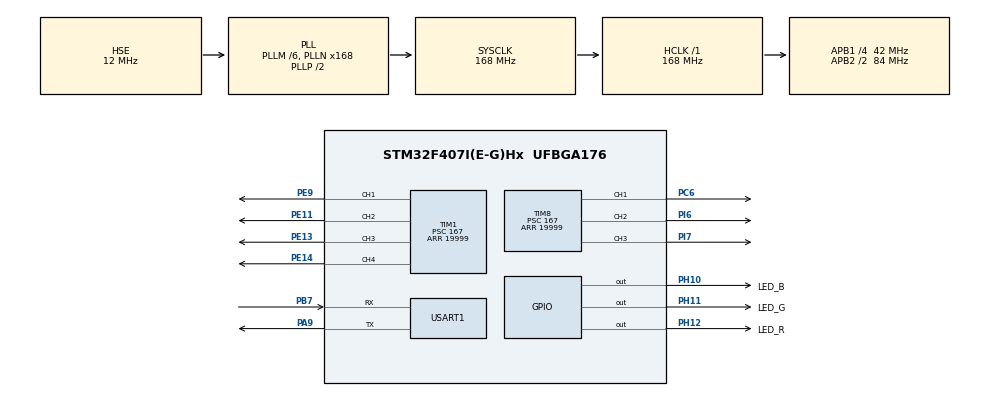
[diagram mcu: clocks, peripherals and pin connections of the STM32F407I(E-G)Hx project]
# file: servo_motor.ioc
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Dma.Request0=USART1_TX
Dma.USART1_TX.0.Direction=DMA_MEMORY_TO_PERIPH
Dma.USART1_TX.0.FIFOMode=DMA_FIFOMODE_DISABLE
Dma.USART1_TX.0.Instance=DMA2_Stream7
Dma.USART1_TX.0.MemDataAlignment=DMA_MDATAALIGN_BYTE
Dma.USART1_TX.0.MemInc=DMA_MINC_ENABLE
Dma.USART1_TX.0.Mode=DMA_NORMAL
Dma.USART1_TX.0.PeriphDataAlignment=DMA_PDATAALIGN_BYTE
Dma.USART1_TX.0.PeriphInc=DMA_PINC_DISABLE
Dma.USART1_TX.0.Priority=DMA_PRIORITY_VERY_HIGH
Mcu.Family=STM32F4
Mcu.Name=STM32F407I(E-G)Hx
Mcu.Package=UFBGA176
NVIC.DMA2_Stream7_IRQn=true\:0\:0\:false\:false\:true\:false\:true
NVIC.PriorityGroup=NVIC_PRIORITYGROUP_4
PA13.Mode=Serial_Wire
PA13.Signal=SYS_JTMS-SWDIO
PA14.Mode=Serial_Wire
PA14.Signal=SYS_JTCK-SWCLK
PA9.Mode=Asynchronous
PA9.Signal=USART1_TX
PB7.Mode=Asynchronous
PB7.Signal=USART1_RX
PC6.GPIO_PuPd=GPIO_PULLUP
PC6.GPIO_Speed=GPIO_SPEED_FREQ_HIGH
PC6.Signal=S_TIM8_CH1
PE11.GPIO_PuPd=GPIO_PULLUP
PE11.GPIO_Speed=GPIO_SPEED_FREQ_HIGH
PE11.Signal=S_TIM1_CH2
PE13.GPIO_PuPd=GPIO_PULLUP
PE13.GPIO_Speed=GPIO_SPEED_FREQ_HIGH
PE13.Signal=S_TIM1_CH3
PE14.GPIO_PuPd=GPIO_PULLUP
PE14.GPIO_Speed=GPIO_SPEED_FREQ_HIGH
PE14.Signal=S_TIM1_CH4
PE9.GPIO_PuPd=GPIO_PULLUP
PE9.GPIO_Speed=GPIO_SPEED_FREQ_HIGH
PE9.Signal=S_TIM1_CH1
PH0-OSC_IN.Mode=HSE-External-Oscillator
PH0-OSC_IN.Signal=RCC_OSC_IN
PH1-OSC_OUT.Mode=HSE-External-Oscillator
PH1-OSC_OUT.Signal=RCC_OSC_OUT
PH10.GPIO_Label=LED_B
PH10.PinState=GPIO_PIN_SET
PH10.Signal=GPIO_Output
PH11.GPIO_Label=LED_G
PH11.Signal=GPIO_Output
PH12.GPIO_Label=LED_R
PH12.Signal=GPIO_Output
PI6.GPIO_PuPd=GPIO_PULLUP
PI6.GPIO_Speed=GPIO_SPEED_FREQ_HIGH
PI6.Signal=S_TIM8_CH2
PI7.GPIO_PuPd=GPIO_PULLUP
PI7.GPIO_Speed=GPIO_SPEED_FREQ_HIGH
PI7.Signal=S_TIM8_CH3
ProjectManager.HeapSize=0x2000
ProjectManager.StackSize=0x2000
ProjectManager.TargetToolchain=MDK-ARM V5
RCC.48MHZClocksFreq_Value=48000000
RCC.AHBFreq_Value=168000000
RCC.APB1CLKDivider=RCC_HCLK_DIV4
RCC.APB1Freq_Value=42000000
RCC.APB1TimFreq_Value=84000000
RCC.APB2CLKDivider=RCC_HCLK_DIV2
RCC.APB2Freq_Value=84000000
RCC.APB2TimFreq_Value=168000000
RCC.CortexFreq_Value=168000000
RCC.HCLKFreq_Value=168000000
RCC.HSE_VALUE=12000000
RCC.HSI_VALUE=16000000
RCC.LSE_VALUE=32768
RCC.PLLM=6
RCC.PLLN=168
RCC.PLLQ=7
RCC.PLLSourceVirtual=RCC_PLLSOURCE_HSE
RCC.RCC_RTC_Clock_SourceVirtual=RCC_RTCCLKSOURCE_HSE_DIV30
RCC.RCC_RTC_Clock_Source_FROM_HSE=RCC_RTCCLKSOURCE_HSE_DIV30
RCC.SYSCLKFreq_VALUE=168000000
RCC.SYSCLKSource=RCC_SYSCLKSOURCE_PLLCLK
RCC.VCOOutputFreq_Value=336000000
SH.S_TIM1_CH1.0=TIM1_CH1,PWM Generation1 CH1
SH.S_TIM1_CH2.0=TIM1_CH2,PWM Generation2 CH2
SH.S_TIM1_CH3.0=TIM1_CH3,PWM Generation3 CH3
SH.S_TIM1_CH4.0=TIM1_CH4,PWM Generation4 CH4
SH.S_TIM8_CH1.0=TIM8_CH1,PWM Generation1 CH1
SH.S_TIM8_CH2.0=TIM8_CH2,PWM Generation2 CH2
SH.S_TIM8_CH3.0=TIM8_CH3,PWM Generation3 CH3
TIM1.Channel-PWM\ Generation1\ CH1=TIM_CHANNEL_1
TIM1.Channel-PWM\ Generation2\ CH2=TIM_CHANNEL_2
TIM1.Channel-PWM\ Generation3\ CH3=TIM_CHANNEL_3
TIM1.Channel-PWM\ Generation4\ CH4=TIM_CHANNEL_4
TIM1.Period=19999
TIM1.Prescaler=167
TIM1.Pulse-PWM\ Generation1\ CH1=2000
TIM1.Pulse-PWM\ Generation2\ CH2=2000
TIM1.Pulse-PWM\ Generation3\ CH3=2000
TIM1.Pulse-PWM\ Generation4\ CH4=2000
TIM8.Channel-PWM\ Generation1\ CH1=TIM_CHANNEL_1
TIM8.Channel-PWM\ Generation2\ CH2=TIM_CHANNEL_2
TIM8.Channel-PWM\ Generation3\ CH3=TIM_CHANNEL_3
TIM8.Period=19999
TIM8.Prescaler=167
TIM8.Pulse-PWM\ Generation1\ CH1=2000
TIM8.Pulse-PWM\ Generation2\ CH2=2000
TIM8.Pulse-PWM\ Generation3\ CH3=2000
USART1.VirtualMode=VM_ASYNC
VP_TIM1_VS_ClockSourceINT.Mode=Internal
VP_TIM8_VS_ClockSourceINT.Mode=Internal
board=custom

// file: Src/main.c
/* USER CODE BEGIN Header */
/**
  ******************************************************************************
  * @file           : main.c
  * @brief          : Main program body
  ******************************************************************************
  * @attention
  *
  * <h2><center>&copy; Copyright (c) 2019 STMicroelectronics.
  * All rights reserved.</center></h2>
  *
  * This software component is licensed by ST under BSD 3-Clause license,
  * the "License"; You may not use this file except in compliance with the
  * License. You may obtain a copy of the License at:
  *                        opensource.org/licenses/BSD-3-Clause
  *
  ******************************************************************************
  */
/* USER CODE END Header */
#include "main.h"
#include "dma.h"
#include "tim.h"
#include "usart.h"
#include "gpio.h"

/* USER CODE BEGIN Includes */
#include <stdio.h>
#include <stdarg.h>
#include "bsp_usart.h"
#include "string.h"
/* USER CODE END Includes */

void SystemClock_Config(void);

/* USER CODE BEGIN 0 */
void usart_printf(const char *fmt,...)
{
    static uint8_t tx_buf[256] = {0};
    static va_list ap;
    static uint16_t len;
    va_start(ap, fmt);

    //return length of string
    //返回字符串长度
    len = vsprintf((char *)tx_buf, fmt, ap);

    va_end(ap);

    usart1_tx_dma_enable(tx_buf, len);

}
/* USER CODE END 0 */

int main(void)
{

  /* MCU Configuration--------------------------------------------------------*/

  /* Reset of all peripherals, Initializes the Flash interface and the Systick. */
  HAL_Init();

  /* Configure the system clock */
  SystemClock_Config();

  /* Initialize all configured peripherals */
  MX_GPIO_Init();
  MX_DMA_Init();
  MX_TIM8_Init();
  MX_TIM1_Init();
  MX_USART1_UART_Init();
  /* USER CODE BEGIN 2 */
    HAL_TIM_Base_Start(&htim1);
    HAL_TIM_PWM_Start(&htim1, TIM_CHANNEL_1);
    HAL_TIM_PWM_Start(&htim1, TIM_CHANNEL_2);
    HAL_TIM_PWM_Start(&htim1, TIM_CHANNEL_3);
    HAL_TIM_PWM_Start(&htim1, TIM_CHANNEL_1);
    HAL_TIM_Base_Start(&htim8);
    HAL_TIM_PWM_Start(&htim8, TIM_CHANNEL_1);
    HAL_TIM_PWM_Start(&htim8, TIM_CHANNEL_2);
    HAL_TIM_PWM_Start(&htim8, TIM_CHANNEL_3);

	__HAL_UART_ENABLE_IT(&huart1, UART_IT_RXNE);  //receive interrupt
    __HAL_UART_ENABLE_IT(&huart1, UART_IT_IDLE);  //idle interrupt

//	__HAL_TIM_SetCompare(&htim1, TIM_CHANNEL_1, 1000);
//	HAL_Delay(1000);
//	__HAL_TIM_SetCompare(&htim1, TIM_CHANNEL_1, 2000);
//	HAL_Delay(1000);
//	__HAL_TIM_SetCompare(&htim1, TIM_CHANNEL_1, 1500);
//int motorh=500;

  /* USER CODE END 2 */

  /* Infinite loop */
  while (1)
  {

    /* USER CODE BEGIN 3 */
	HAL_GPIO_WritePin(LED_R_GPIO_Port, LED_R_Pin, GPIO_PIN_RESET);
    HAL_GPIO_WritePin(LED_G_GPIO_Port, LED_G_Pin, GPIO_PIN_RESET);
    HAL_GPIO_WritePin(LED_B_GPIO_Port, LED_B_Pin, GPIO_PIN_RESET);
		//motor right
//usart_printf(
//"**********\r\n\
//ch0:%d\r\n\
//**********\r\n",
//            100);
	HAL_UART_Transmit(&huart1, "hhhhh\r\n", 12, 100);

	 HAL_Delay(1000);
	HAL_GPIO_WritePin(LED_R_GPIO_Port, LED_R_Pin, GPIO_PIN_SET);
    HAL_GPIO_WritePin(LED_G_GPIO_Port, LED_G_Pin, GPIO_PIN_SET);
    HAL_GPIO_WritePin(LED_B_GPIO_Port, LED_B_Pin, GPIO_PIN_SET);
    HAL_Delay(1000);

//20ms ARR 20000
//1600 motor: low back , wheel small to left (driver view) ----- 1.6ms ----------never give motor value greater than 1500
//1400 motor: low forward, wheel small to left -------------------1.4ms

//wheel
//left max-----1800 ----1.8ms
//right max ---- 1100  --- 1.2ms

//motor
//1500 zero ----------------------1.5ms
//2000 max ------------------------2ms -- forward
//could be higher
//never put value smaller than 1500;
  }

  /* USER CODE END 3 */
}

void SystemClock_Config(void)
{
  RCC_OscInitTypeDef RCC_OscInitStruct = {0};
  RCC_ClkInitTypeDef RCC_ClkInitStruct = {0};

  /** Configure the main internal regulator output voltage
  */
  __HAL_RCC_PWR_CLK_ENABLE();
  __HAL_PWR_VOLTAGESCALING_CONFIG(PWR_REGULATOR_VOLTAGE_SCALE1);
  /** Initializes the RCC Oscillators according to the specified parameters
  * in the RCC_OscInitTypeDef structure.
  */
  RCC_OscInitStruct.OscillatorType = RCC_OSCILLATORTYPE_HSE;
  RCC_OscInitStruct.HSEState = RCC_HSE_ON;
  RCC_OscInitStruct.PLL.PLLState = RCC_PLL_ON;
  RCC_OscInitStruct.PLL.PLLSource = RCC_PLLSOURCE_HSE;
  RCC_OscInitStruct.PLL.PLLM = 6;
  RCC_OscInitStruct.PLL.PLLN = 168;
  RCC_OscInitStruct.PLL.PLLP = RCC_PLLP_DIV2;
  RCC_OscInitStruct.PLL.PLLQ = 7;
  if (HAL_RCC_OscConfig(&RCC_OscInitStruct) != HAL_OK)
  {
    Error_Handler();
  }
  /** Initializes the CPU, AHB and APB buses clocks
  */
  RCC_ClkInitStruct.ClockType = RCC_CLOCKTYPE_HCLK|RCC_CLOCKTYPE_SYSCLK
                              |RCC_CLOCKTYPE_PCLK1|RCC_CLOCKTYPE_PCLK2;
  RCC_ClkInitStruct.SYSCLKSource = RCC_SYSCLKSOURCE_PLLCLK;
  RCC_ClkInitStruct.AHBCLKDivider = RCC_SYSCLK_DIV1;
  RCC_ClkInitStruct.APB1CLKDivider = RCC_HCLK_DIV4;
  RCC_ClkInitStruct.APB2CLKDivider = RCC_HCLK_DIV2;

  if (HAL_RCC_ClockConfig(&RCC_ClkInitStruct, FLASH_LATENCY_5) != HAL_OK)
  {
    Error_Handler();
  }
}

void Error_Handler(void)
{
}

/************************ (C) COPYRIGHT STMicroelectronics *****END OF FILE****/
